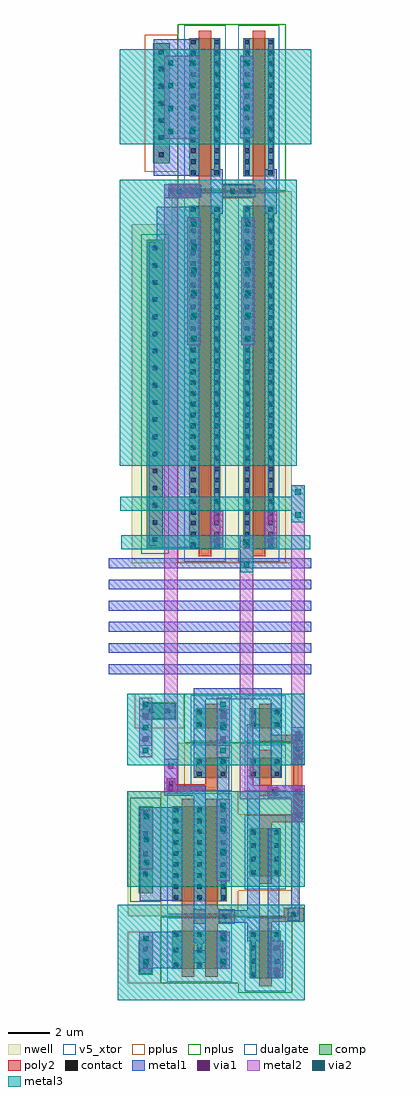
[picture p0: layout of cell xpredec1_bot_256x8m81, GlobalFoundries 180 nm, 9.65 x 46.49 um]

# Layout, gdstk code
import gdstk
lib = gdstk.Library(unit=1e-6, precision=1e-09)
def R(c, l, rs):  # rectangles x0, y0, x1, y1
    for r in rs: c.add(gdstk.rectangle(r[:2], r[2:], *l))
def A(c, l, x, y, w, h, nx, ny, dx, dy):  # array of equal rectangles
    R(c, l, [(x+i*dx, y+j*dy, x+i*dx+w, y+j*dy+h) for i in range(nx) for j in range(ny)])
def P(c, l, *ps):  # polygons
    for p in ps: c.add(gdstk.Polygon(p, *l))
nwell = (21, 0)
comp = (22, 0)
poly2 = (30, 0)
pplus = (31, 0)
nplus = (32, 0)
contact = (33, 0)
metal1 = (34, 0)
via1 = (35, 0)
metal2 = (36, 0)
via2 = (38, 0)
metal3 = (42, 0)
dualgate = (55, 0)
v5_xtor = (112, 1)

m2_m1__43375660_256x8m81 = lib.new_cell('M2_M1$$43375660_256x8m81')
R(m2_m1__43375660_256x8m81, metal1, [(-0.31,-0.875,0.31,0.875)])
R(m2_m1__43375660_256x8m81, via1, [(-0.13,-0.675,0.13,-0.415), (-0.13,0.415,0.13,0.675)])
R(m2_m1__43375660_256x8m81, metal2, [(-0.31,-0.875,0.31,0.875)])

m2_m1__43377708_256x8m81 = lib.new_cell('M2_M1$$43377708_256x8m81')
P(m2_m1__43377708_256x8m81, metal1, [(-0.29,-3.055),(-0.29,-3.05),(-0.32,-3.05),(-0.32,3.055),(0.32,3.055),(0.32,-3.05),(0.29,-3.05),(0.29,-3.055)])
A(m2_m1__43377708_256x8m81, via1, -0.13, -1.765, 0.26, 0.26, 1, 4, 0, 1.09)
R(m2_m1__43377708_256x8m81, via1, [(-0.13,-2.85,0.13,-2.59), (-0.13,2.59,0.13,2.85)])
R(m2_m1__43377708_256x8m81, metal2, [(-0.32,-3.055,0.32,3.055)])

m3_m2__47334444_256x8m81 = lib.new_cell('M3_M2$$47334444_256x8m81')
R(m3_m2__47334444_256x8m81, metal2, [(-0.32,-3.055,0.32,3.055)])
A(m3_m2__47334444_256x8m81, via2, -0.13, -1.765, 0.26, 0.26, 1, 4, 0, 1.09)
R(m3_m2__47334444_256x8m81, via2, [(-0.13,-2.85,0.13,-2.59), (-0.13,2.59,0.13,2.85)])
R(m3_m2__47334444_256x8m81, metal3, [(-0.325,-3.055,0.325,3.055)])

m3_m2__47333420_256x8m81 = lib.new_cell('M3_M2$$47333420_256x8m81')
R(m3_m2__47333420_256x8m81, metal2, [(-0.32,-1.965,0.32,1.96)])
A(m3_m2__47333420_256x8m81, via2, -0.13, -1.765, 0.26, 0.26, 1, 4, 0, 1.09)
R(m3_m2__47333420_256x8m81, metal3, [(-0.325,-1.965,0.325,1.965)])

m2_m1__43379756_256x8m81 = lib.new_cell('M2_M1$$43379756_256x8m81')
R(m2_m1__43379756_256x8m81, metal1, [(-0.32,-1.965,0.32,1.965)])
A(m2_m1__43379756_256x8m81, via1, -0.13, -1.765, 0.26, 0.26, 1, 4, 0, 1.09)
R(m2_m1__43379756_256x8m81, metal2, [(-0.32,-1.965,0.32,1.96)])

m1_poly24310590878127_25 = lib.new_cell('M1_POLY24310590878127_256x8m81')
R(m1_poly24310590878127_25, poly2, [(-0.21,-0.21,0.21,0.21)])
R(m1_poly24310590878127_25, contact, [(-0.11,-0.11,0.11,0.11)])
R(m1_poly24310590878127_25, metal1, [(-0.17,-0.17,0.17,0.17)])

nmos_5p0431059087818_256 = lib.new_cell('nmos_5p0431059087818_256x8m81')
R(nmos_5p0431059087818_256, comp, [(-0.44,0,1.04,0.96), (-0.44,0,-0.08,0.96), (0.68,0,1.04,0.96)])
R(nmos_5p0431059087818_256, poly2, [(0,-0.22,0.6,1.18), (0,0.96,0.6,1.18)])
R(nmos_5p0431059087818_256, nplus, [(-0.6,-0.23,1.2,1.19)])
R(nmos_5p0431059087818_256, contact, [(-0.37,0.07,-0.15,0.29), (0.75,0.07,0.97,0.29), (-0.37,0.67,-0.15,0.89), (0.75,0.67,0.97,0.89)])
R(nmos_5p0431059087818_256, metal1, [(-0.375,0,-0.145,0.96), (-0.375,0,-0.145,0.96), (0.745,0,0.975,0.96), (0.745,0,0.975,0.96)])
R(nmos_5p0431059087818_256, dualgate, [(-0.68,-0.62,1.28,1.58)])
R(nmos_5p0431059087818_256, v5_xtor, [(-0.68,-0.62,1.28,1.58)])
nmos_5p0431059087818_256.add(gdstk.Label('S', (-0.26,0.48), layer=34, texttype=0))
nmos_5p0431059087818_256.add(gdstk.Label('D', (0.86,0.48), layer=34, texttype=0))

m2_m1__43375660_154_256x = lib.new_cell('M2_M1$$43375660_154_256x8m81')
R(m2_m1__43375660_154_256x, metal1, [(-0.315,-0.88,0.32,0.875)])
R(m2_m1__43375660_154_256x, via1, [(-0.13,-0.675,0.13,-0.415), (-0.13,0.415,0.13,0.675)])
R(m2_m1__43375660_154_256x, metal2, [(-0.315,-0.88,0.32,0.875)])

m3_m2__47108140_149_256x = lib.new_cell('M3_M2$$47108140_149_256x8m81')
R(m3_m2__47108140_149_256x, metal2, [(-0.315,-1.42,0.32,1.42)])
A(m3_m2__47108140_149_256x, via2, -0.13, -1.22, 0.26, 0.26, 1, 3, 0, 1.09)
R(m3_m2__47108140_149_256x, metal3, [(-0.325,-1.42,0.325,1.42)])

m3_m2__43368492_151_256x = lib.new_cell('M3_M2$$43368492_151_256x8m81')
R(m3_m2__43368492_151_256x, metal2, [(-0.32,-0.88,0.32,0.875)])
R(m3_m2__43368492_151_256x, via2, [(-0.13,-0.675,0.13,-0.415), (-0.13,0.415,0.13,0.675)])
R(m3_m2__43368492_151_256x, metal3, [(-0.325,-0.88,0.325,0.88)])

m1_psub__45110316_256x8m = lib.new_cell('M1_PSUB$$45110316_256x8m81')
R(m1_psub__45110316_256x8m, comp, [(-0.79,-0.415,0.795,0.41)])
R(m1_psub__45110316_256x8m, pplus, [(-1.185,-0.82,1.19,0.82)])
R(m1_psub__45110316_256x8m, contact, [(-0.505,-0.11,-0.285,0.11), (0.285,-0.11,0.505,0.11)])
P(m1_psub__45110316_256x8m, metal1, [(-0.75,-0.37),(-0.75,0.095),(-0.745,0.095),(-0.745,0.365),(0.75,0.365),(0.75,-0.37)])

m3_m2__47333420_150_256x = lib.new_cell('M3_M2$$47333420_150_256x8m81')
R(m3_m2__47333420_150_256x, metal2, [(-0.32,-1.965,0.32,1.965)])
A(m3_m2__47333420_150_256x, via2, -0.13, -1.765, 0.26, 0.26, 1, 4, 0, 1.09)
R(m3_m2__47333420_150_256x, metal3, [(-0.325,-1.965,0.325,1.965)])

m1_poly2__44753964_155_2 = lib.new_cell('M1_POLY2$$44753964_155_256x8m81')
R(m1_poly2__44753964_155_2, poly2, [(-0.48,-0.345,0.485,0.34)])
R(m1_poly2__44753964_155_2, contact, [(-0.11,-0.11,0.11,0.11)])
R(m1_poly2__44753964_155_2, metal1, [(-0.285,-0.3,0.29,0.295)])

pmos_5p04310590878114_25 = lib.new_cell('pmos_5p04310590878114_256x8m81')
R(pmos_5p04310590878114_25, nwell, [(-1.04,-0.6,1.64,2.87)])
R(pmos_5p04310590878114_25, comp, [(-0.44,0,1.04,2.27), (-0.44,0,-0.08,2.27), (0.68,0,1.04,2.27)])
R(pmos_5p04310590878114_25, poly2, [(0,-0.22,0.6,2.49), (0,2.27,0.6,2.49)])
R(pmos_5p04310590878114_25, pplus, [(-0.6,-0.23,1.2,2.5)])
A(pmos_5p04310590878114_25, contact, -0.37, 0.71, 0.22, 0.22, 1, 3, 0, 0.635)
A(pmos_5p04310590878114_25, contact, 0.75, 0.71, 0.22, 0.22, 1, 3, 0, 0.635)
R(pmos_5p04310590878114_25, contact, [(-0.37,0.07,-0.15,0.29), (0.75,0.07,0.97,0.29)])
R(pmos_5p04310590878114_25, metal1, [(-0.375,0,-0.145,2.27), (-0.375,0,-0.145,2.27), (0.745,0,0.975,2.27), (0.745,0,0.975,2.27)])
R(pmos_5p04310590878114_25, dualgate, [(-0.68,-0.62,1.28,2.89)])
R(pmos_5p04310590878114_25, v5_xtor, [(-0.68,-0.62,1.28,2.89)])
pmos_5p04310590878114_25.add(gdstk.Label('S', (-0.26,1.135), layer=34, texttype=0))
pmos_5p04310590878114_25.add(gdstk.Label('D', (0.86,1.135), layer=34, texttype=0))

pmos_1p2__46285868_160_2 = lib.new_cell('pmos_1p2$$46285868_160_256x8m81')
R(pmos_1p2__46285868_160_2, nwell, [(-1.43,-0.71,1.72,2.975)])
R(pmos_1p2__46285868_160_2, poly2, [(-0.155,-0.37,0.44,-0.005), (-0.155,2.27,0.44,2.635)])
R(pmos_1p2__46285868_160_2, pplus, [(-1.145,-0.685,1.43,2.95)])
pmos_1p2__46285868_160_2.add(gdstk.Reference(pmos_5p04310590878114_25, (-0.155,0)))

nmos_5p04310590878110_25 = lib.new_cell('nmos_5p04310590878110_256x8m81')
R(nmos_5p04310590878110_25, comp, [(-0.44,0,1.04,2.27), (-0.44,0,-0.08,2.27), (0.68,0,1.04,2.27)])
R(nmos_5p04310590878110_25, poly2, [(0,-0.22,0.6,2.49), (0,2.27,0.6,2.49)])
R(nmos_5p04310590878110_25, nplus, [(-0.6,-0.23,1.2,2.5)])
A(nmos_5p04310590878110_25, contact, -0.37, 0.71, 0.22, 0.22, 1, 3, 0, 0.635)
A(nmos_5p04310590878110_25, contact, 0.75, 0.71, 0.22, 0.22, 1, 3, 0, 0.635)
R(nmos_5p04310590878110_25, contact, [(-0.37,0.07,-0.15,0.29), (0.75,0.07,0.97,0.29)])
R(nmos_5p04310590878110_25, metal1, [(-0.375,0,-0.145,2.27), (-0.375,0,-0.145,2.27), (0.745,0,0.975,2.27), (0.745,0,0.975,2.27)])
R(nmos_5p04310590878110_25, dualgate, [(-0.68,-0.62,1.28,2.89)])
R(nmos_5p04310590878110_25, v5_xtor, [(-0.68,-0.62,1.28,2.89)])
nmos_5p04310590878110_25.add(gdstk.Label('S', (-0.26,1.135), layer=34, texttype=0))
nmos_5p04310590878110_25.add(gdstk.Label('D', (0.86,1.135), layer=34, texttype=0))

nmos_1p2__46551084_157_2 = lib.new_cell('nmos_1p2$$46551084_157_256x8m81')
R(nmos_1p2__46551084_157_2, poly2, [(-0.155,-0.37,0.44,-0.005), (-0.155,2.27,0.44,2.635)])
R(nmos_1p2__46551084_157_2, nplus, [(-1.145,-0.685,1.43,2.95)])
nmos_1p2__46551084_157_2.add(gdstk.Reference(nmos_5p04310590878110_25, (-0.155,0)))

pmos_5p04310590878141_25 = lib.new_cell('pmos_5p04310590878141_256x8m81')
R(pmos_5p04310590878141_25, nwell, [(-1.04,-0.6,1.64,1.56)])
R(pmos_5p04310590878141_25, comp, [(-0.44,0,1.04,0.96), (-0.44,0,-0.08,0.96), (0.68,0,1.04,0.96)])
R(pmos_5p04310590878141_25, poly2, [(0,-0.22,0.6,1.18), (0,0.96,0.6,1.18)])
R(pmos_5p04310590878141_25, pplus, [(-0.6,-0.23,1.2,1.19)])
R(pmos_5p04310590878141_25, contact, [(-0.37,0.07,-0.15,0.29), (0.75,0.07,0.97,0.29), (-0.37,0.67,-0.15,0.89), (0.75,0.67,0.97,0.89)])
R(pmos_5p04310590878141_25, metal1, [(-0.375,0,-0.145,0.96), (-0.375,0,-0.145,0.96), (0.745,0,0.975,0.96), (0.745,0,0.975,0.96)])
R(pmos_5p04310590878141_25, dualgate, [(-0.68,-0.62,1.28,1.58)])
R(pmos_5p04310590878141_25, v5_xtor, [(-0.68,-0.62,1.28,1.58)])
pmos_5p04310590878141_25.add(gdstk.Label('S', (-0.26,0.48), layer=34, texttype=0))
pmos_5p04310590878141_25.add(gdstk.Label('D', (0.86,0.48), layer=34, texttype=0))

pmos_1p2__47330348_161_2 = lib.new_cell('pmos_1p2$$47330348_161_256x8m81')
R(pmos_1p2__47330348_161_2, nwell, [(-1.43,-0.705,1.72,1.61)])
R(pmos_1p2__47330348_161_2, poly2, [(-0.15,-0.365,0.44,0), (-0.155,0.955,0.44,1.11)])
R(pmos_1p2__47330348_161_2, pplus, [(-1.145,-0.68,1.43,1.63)])
pmos_1p2__47330348_161_2.add(gdstk.Reference(pmos_5p04310590878141_25, (-0.155,0)))

nmos_5p04310590878162_25 = lib.new_cell('nmos_5p04310590878162_256x8m81')
A(nmos_5p04310590878162_25, comp, -0.44, 0, 0.36, 1.82, 3, 1, 1.12, 0)
R(nmos_5p04310590878162_25, comp, [(-0.44,0,2.16,1.82)])
R(nmos_5p04310590878162_25, poly2, [(0,-0.22,0.6,2.04), (1.12,-0.22,1.72,2.04), (0,1.82,0.6,2.04), (1.12,1.82,1.72,2.04)])
R(nmos_5p04310590878162_25, nplus, [(-0.6,-0.23,2.32,2.05)])
A(nmos_5p04310590878162_25, contact, -0.37, 0.07, 0.22, 0.22, 3, 3, 1.12, 0.73)
R(nmos_5p04310590878162_25, metal1, [(-0.375,0,-0.145,1.82), (-0.375,0,-0.145,1.82), (0.745,0,0.975,1.82), (0.745,0,0.975,1.82), (1.865,0,2.095,1.82), (1.865,0,2.095,1.82)])
R(nmos_5p04310590878162_25, dualgate, [(-0.68,-0.62,2.4,2.44)])
R(nmos_5p04310590878162_25, v5_xtor, [(-0.68,-0.62,2.4,2.44)])
nmos_5p04310590878162_25.add(gdstk.Label('S', (-0.26,0.91), layer=34, texttype=0))
nmos_5p04310590878162_25.add(gdstk.Label('S', (1.98,0.91), layer=34, texttype=0))
nmos_5p04310590878162_25.add(gdstk.Label('D', (0.86,0.91), layer=34, texttype=0))

nmos_1p2__47329324_256x8 = lib.new_cell('nmos_1p2$$47329324_256x8m81')
R(nmos_1p2__47329324_256x8, poly2, [(-0.15,-0.37,0.44,-0.005), (0.97,-0.37,1.56,-0.005), (-0.15,1.815,0.44,2.18), (0.965,1.815,1.56,2.155)])
R(nmos_1p2__47329324_256x8, nplus, [(-1.14,-0.685,2.55,2.495)])
nmos_1p2__47329324_256x8.add(gdstk.Reference(nmos_5p04310590878162_25, (-0.155,0)))

m2_m1__43380780_152_256x = lib.new_cell('M2_M1$$43380780_152_256x8m81')
R(m2_m1__43380780_152_256x, metal1, [(-0.315,-1.42,0.325,1.42)])
A(m2_m1__43380780_152_256x, via1, -0.13, -1.22, 0.26, 0.26, 1, 3, 0, 1.09)
R(m2_m1__43380780_152_256x, metal2, [(-0.315,-1.42,0.325,1.42)])

m2_m1__43379756_153_256x = lib.new_cell('M2_M1$$43379756_153_256x8m81')
R(m2_m1__43379756_153_256x, metal1, [(-0.32,-1.965,0.32,1.965)])
A(m2_m1__43379756_153_256x, via1, -0.13, -1.765, 0.26, 0.26, 1, 4, 0, 1.09)
R(m2_m1__43379756_153_256x, metal2, [(-0.32,-1.965,0.32,1.965)])

pmos_5p04310590878163_25 = lib.new_cell('pmos_5p04310590878163_256x8m81')
R(pmos_5p04310590878163_25, nwell, [(-1.04,-0.6,2.76,5.14)])
A(pmos_5p04310590878163_25, comp, -0.44, 0, 0.36, 4.54, 3, 1, 1.12, 0)
R(pmos_5p04310590878163_25, comp, [(-0.44,0,2.16,4.54)])
R(pmos_5p04310590878163_25, poly2, [(0,-0.22,0.6,4.76), (1.12,-0.22,1.72,4.76), (0,4.54,0.6,4.76), (1.12,4.54,1.72,4.76)])
R(pmos_5p04310590878163_25, pplus, [(-0.6,-0.23,2.32,4.77)])
A(pmos_5p04310590878163_25, contact, -0.37, 0.07, 0.22, 0.22, 3, 5, 1.12, 0.525)
A(pmos_5p04310590878163_25, contact, -0.37, 2.69, 0.22, 0.22, 3, 4, 1.12, 0.52)
R(pmos_5p04310590878163_25, metal1, [(-0.375,0,-0.145,4.54), (-0.375,0,-0.145,4.54), (0.745,0,0.975,4.54), (0.745,0,0.975,4.54), (1.865,0,2.095,4.54), (1.865,0,2.095,4.54)])
R(pmos_5p04310590878163_25, dualgate, [(-0.68,-0.62,2.4,5.16)])
R(pmos_5p04310590878163_25, v5_xtor, [(-0.68,-0.62,2.4,5.16)])
pmos_5p04310590878163_25.add(gdstk.Label('S', (-0.26,2.27), layer=34, texttype=0))
pmos_5p04310590878163_25.add(gdstk.Label('S', (1.98,2.27), layer=34, texttype=0))
pmos_5p04310590878163_25.add(gdstk.Label('D', (0.86,2.27), layer=34, texttype=0))

pmos_1p2__47331372_256x8 = lib.new_cell('pmos_1p2$$47331372_256x8m81')
R(pmos_1p2__47331372_256x8, nwell, [(-1.43,-0.71,2.84,5.24)])
R(pmos_1p2__47331372_256x8, poly2, [(-0.15,-0.37,0.44,-0.005), (0.97,-0.37,1.56,-0.005), (-0.15,4.535,0.44,4.895), (0.97,4.535,1.56,4.895)])
R(pmos_1p2__47331372_256x8, pplus, [(-1.14,-0.685,2.55,5.22)])
pmos_1p2__47331372_256x8.add(gdstk.Reference(pmos_5p04310590878163_25, (-0.155,0)))

m1_poly24310590878134_25 = lib.new_cell('M1_POLY24310590878134_256x8m81')
R(m1_poly24310590878134_25, poly2, [(-0.21,-0.445,0.21,0.445)])
R(m1_poly24310590878134_25, contact, [(-0.11,-0.345,0.11,-0.125), (-0.11,0.125,0.11,0.345)])
R(m1_poly24310590878134_25, metal1, [(-0.17,-0.405,0.17,0.405)])

alatch_256x8m81 = lib.new_cell('alatch_256x8m81')
R(alatch_256x8m81, nwell, [(0.02,3.985,1.795,9.93)])
P(alatch_256x8m81, nwell, [(2.435,3.985),(2.435,9.93),(2.44,9.93),(2.44,12.245),(8.15,12.245),(8.15,3.985)])
R(alatch_256x8m81, comp, [(0.55,1.195,1.215,2.835), (0.55,5.075,1.215,9.23)])
R(alatch_256x8m81, poly2, [(6.28,9.72,6.88,10.435), (3.71,11.695,4.31,12.79)])
P(alatch_256x8m81, poly2, [(1.875,9.98),(1.875,10.28),(3.71,10.28),(3.71,10.635),(4.31,10.635),(4.31,9.98)],
  [(2.59,3.44),(2.59,4.54),(3.19,4.54),(3.19,4.32),(3.71,4.32),(3.71,4.54),(4.31,4.54),(4.31,4.32),(5.12,4.32),(5.12,3.635),(4.31,3.635),(4.31,3.44),(3.71,3.44),(3.71,3.635),(3.19,3.635),(3.19,3.44)],
  [(6.28,3.28),(6.28,4.015),(7.445,4.015),(7.445,4.02),(7.93,4.02),(7.93,3.715),(6.88,3.715),(6.88,3.28)],
  [(6.28,8.315),(6.28,8.81),(7.91,8.81),(7.91,12.305),(6.28,12.305),(6.28,12.94),(6.88,12.94),(6.88,12.635),(8.33,12.635),(8.33,8.465),(6.88,8.465),(6.88,8.315)])
R(alatch_256x8m81, pplus, [(0.02,0.79,1.61,3.245)])
R(alatch_256x8m81, nplus, [(0.155,4.665,1.61,9.635), (2.725,12.26,5.295,14.58), (5.295,12.26,7.865,14.58)])
A(alatch_256x8m81, contact, 0.77, 6.85, 0.22, 0.22, 1, 3, 0, 0.965)
R(alatch_256x8m81, contact, [(0.77,1.5,0.99,1.72), (0.77,2.315,0.99,2.535), (0.77,5.89,0.99,6.11)])
R(alatch_256x8m81, metal1, [(3.16,1.765,3.74,2.365), (0.595,4.735,2.62,9.185), (7.845,12.01,8.425,12.61)])
P(alatch_256x8m81, metal1, [(5.73,2.805),(5.73,3.675),(5.725,3.675),(5.725,3.68),(4.35,3.68),(4.35,4.275),(5.73,4.275),(5.73,13.14),(6.31,13.14),(6.31,2.805)],
  [(4.275,8.77),(4.275,9.58),(4.28,9.58),(4.28,11.54),(4.86,11.54),(4.86,8.77)],
  [(7.815,3.76),(7.815,4.355),(7.82,4.355),(7.82,9.63),(6.7,9.63),(6.7,10.225),(8.22,10.225),(8.22,9.245),(8.45,9.245),(8.45,8.645),(8.22,8.645),(8.22,3.76)],
  [(3.16,2.695),(3.16,9.73),(1.795,9.73),(1.795,10.195),(2.4,10.195),(2.4,10.19),(3.74,10.19),(3.74,2.695)],
  [(6.7,1.06),(6.7,8.165),(7.25,8.165),(7.25,2.365),(7.375,2.365),(7.375,1.765),(7.25,1.765),(7.25,1.06)],
  [(0.595,1.24),(0.595,1.49),(0.59,1.49),(0.59,3.245),(2.62,3.245),(2.62,1.515),(1.17,1.515),(1.17,1.24)],
  [(3.16,10.58),(3.16,14.84),(7.36,14.84),(7.36,10.58),(6.85,10.58),(6.85,14.32),(3.74,14.32),(3.74,10.58)])
R(alatch_256x8m81, metal3, [(-0.45,-0.005,8.46,4.535), (-0.005,5.39,8.46,9.93), (-0.005,11.17,8.46,14.58)])
alatch_256x8m81.add(gdstk.Reference(m1_poly24310590878127_25, (2.085,10.34)))
alatch_256x8m81.add(gdstk.Reference(m1_poly24310590878127_25, (6.985,9.93)))
alatch_256x8m81.add(gdstk.Reference(nmos_5p0431059087818_256, (6.28,13.895), x_reflection=True))
alatch_256x8m81.add(gdstk.Reference(nmos_5p0431059087818_256, (3.71,13.895), x_reflection=True))
alatch_256x8m81.add(gdstk.Reference(m2_m1__43375660_154_256x, (4.57,2.37)))
alatch_256x8m81.add(gdstk.Reference(m2_m1__43375660_154_256x, (0.88,12.98)))
alatch_256x8m81.add(gdstk.Reference(m2_m1__43375660_154_256x, (4.57,12.98)))
alatch_256x8m81.add(gdstk.Reference(m2_m1__43375660_154_256x, (0.89,2.37)))
alatch_256x8m81.add(gdstk.Reference(m2_m1__43375660_154_256x, (7.105,1.94)))
alatch_256x8m81.add(gdstk.Reference(m2_m1__43375660_154_256x, (8.135,9.35)))
alatch_256x8m81.add(gdstk.Reference(m2_m1__43375660_154_256x, (8.135,12.115)))
alatch_256x8m81.add(gdstk.Reference(m3_m2__47108140_149_256x, (4.57,12.98)))
alatch_256x8m81.add(gdstk.Reference(m3_m2__47108140_149_256x, (0.88,12.98)))
alatch_256x8m81.add(gdstk.Reference(m3_m2__47108140_149_256x, (0.91,7.64)))
alatch_256x8m81.add(gdstk.Reference(m3_m2__43368492_151_256x, (0.89,2.37)))
alatch_256x8m81.add(gdstk.Reference(m3_m2__43368492_151_256x, (4.57,2.37)))
alatch_256x8m81.add(gdstk.Reference(m1_psub__45110316_256x8m, (1.535,13.76)))
alatch_256x8m81.add(gdstk.Reference(m3_m2__47333420_150_256x, (4.57,7.615)))
alatch_256x8m81.add(gdstk.Reference(m1_poly2__44753964_155_2, (7.93,4.06)))
alatch_256x8m81.add(gdstk.Reference(m1_poly2__44753964_155_2, (4.635,3.98)))
alatch_256x8m81.add(gdstk.Reference(pmos_1p2__46285868_160_2, (6.435,5.895)))
alatch_256x8m81.add(gdstk.Reference(nmos_1p2__46551084_157_2, (6.435,1.02)))
alatch_256x8m81.add(gdstk.Reference(pmos_1p2__47330348_161_2, (3.865,11.54), x_reflection=True))
alatch_256x8m81.add(gdstk.Reference(pmos_1p2__47330348_161_2, (6.435,11.54), x_reflection=True))
alatch_256x8m81.add(gdstk.Reference(nmos_1p2__47329324_256x8, (2.745,1.475)))
alatch_256x8m81.add(gdstk.Reference(m2_m1__43380780_152_256x, (0.91,7.64)))
alatch_256x8m81.add(gdstk.Reference(m2_m1__43379756_153_256x, (4.57,7.615)))
alatch_256x8m81.add(gdstk.Reference(pmos_1p2__47331372_256x8, (2.745,4.695)))
alatch_256x8m81.add(gdstk.Reference(m1_poly24310590878134_25, (8.12,12.195)))
alatch_256x8m81.add(gdstk.Label('enb', (8.135,12.31), layer=34, texttype=10))
alatch_256x8m81.add(gdstk.Label('en', (8.16,8.945), layer=34, texttype=10))
alatch_256x8m81.add(gdstk.Label('ab', (3.45,2.065), layer=34, texttype=10))
alatch_256x8m81.add(gdstk.Label('a', (7.08,2.065), layer=34, texttype=10))
alatch_256x8m81.add(gdstk.Label('vss', (1.01,12.92), layer=42, texttype=10))
alatch_256x8m81.add(gdstk.Label('vss', (0.66,1.835), layer=42, texttype=10))
alatch_256x8m81.add(gdstk.Label('vdd', (0.78,7.49), layer=42, texttype=10))

m3_m2__43368492_256x8m81 = lib.new_cell('M3_M2$$43368492_256x8m81_0')
R(m3_m2__43368492_256x8m81, metal2, [(-0.315,-0.875,0.31,0.88)])
R(m3_m2__43368492_256x8m81, via2, [(-0.13,-0.675,0.13,-0.415), (-0.13,0.415,0.13,0.675)])
R(m3_m2__43368492_256x8m81, metal3, [(-0.315,-0.88,0.315,0.88)])

m2_m1__34864172_256x8m81 = lib.new_cell('M2_M1$$34864172_256x8m81')
R(m2_m1__34864172_256x8m81, metal1, [(-0.85,-0.33,0.85,0.335)])
R(m2_m1__34864172_256x8m81, via1, [(-0.66,-0.13,-0.4,0.13), (0.4,-0.13,0.66,0.13)])
R(m2_m1__34864172_256x8m81, metal2, [(-0.845,-0.33,0.85,0.335)])

m1_poly2__46559276_256x8 = lib.new_cell('M1_POLY2$$46559276_256x8m81_0')
R(m1_poly2__46559276_256x8, poly2, [(-0.88,-0.345,0.88,0.345)])
R(m1_poly2__46559276_256x8, contact, [(-0.505,-0.11,-0.285,0.11), (0.285,-0.11,0.505,0.11)])
R(m1_poly2__46559276_256x8, metal1, [(-0.685,-0.3,0.685,0.3)])

m1_psub__47335468_256x8m = lib.new_cell('M1_PSUB$$47335468_256x8m81')
R(m1_psub__47335468_256x8m, comp, [(-0.395,-2.86,0.4,2.86)])
R(m1_psub__47335468_256x8m, pplus, [(-0.79,-3.27,0.795,3.27)])
A(m1_psub__47335468_256x8m, contact, -0.11, -0.925, 0.22, 0.22, 1, 3, 0, 0.815)
R(m1_psub__47335468_256x8m, contact, [(-0.11,-2.56,0.11,-2.34), (-0.11,-1.745,0.11,-1.525), (-0.11,1.525,0.11,1.745), (-0.11,2.34,0.11,2.56)])
R(m1_psub__47335468_256x8m, metal1, [(-0.35,-2.815,0.355,2.815)])

m1_nwell__47338540_256x8 = lib.new_cell('M1_NWELL$$47338540_256x8m81')
R(m1_nwell__47338540_256x8, nwell, [(-1.105,-8.075,1.105,8.075)])
R(m1_nwell__47338540_256x8, comp, [(-0.385,-7.34,0.385,7.335)])
R(m1_nwell__47338540_256x8, nplus, [(-0.65,-7.61,0.65,7.61)])
A(m1_nwell__47338540_256x8, contact, -0.11, -6.23, 0.22, 0.22, 1, 5, 0, 0.815)
A(m1_nwell__47338540_256x8, contact, -0.11, -2.15, 0.22, 0.22, 1, 3, 0, 0.815)
A(m1_nwell__47338540_256x8, contact, -0.11, 0.3, 0.22, 0.22, 1, 3, 0, 0.815)
A(m1_nwell__47338540_256x8, contact, -0.11, 2.75, 0.22, 0.22, 1, 5, 0, 0.815)
R(m1_nwell__47338540_256x8, contact, [(-0.11,-7.05,0.11,-6.83), (-0.11,6.83,0.11,7.05)])
R(m1_nwell__47338540_256x8, metal1, [(-0.29,-7.235,0.29,7.235)])

pmos_5p04310590878174_25 = lib.new_cell('pmos_5p04310590878174_256x8m81')
R(pmos_5p04310590878174_25, nwell, [(-1.04,-0.6,1.64,16.93)])
R(pmos_5p04310590878174_25, comp, [(-0.44,0,1.04,16.33), (-0.44,0,-0.08,16.33), (0.68,0,1.04,16.33)])
R(pmos_5p04310590878174_25, poly2, [(0,-0.22,0.6,16.55), (0,16.33,0.6,16.55)])
R(pmos_5p04310590878174_25, pplus, [(-0.6,-0.23,1.2,16.56)])
A(pmos_5p04310590878174_25, contact, -0.37, 0.59, 0.22, 0.22, 1, 31, 0, 0.515)
A(pmos_5p04310590878174_25, contact, 0.75, 0.59, 0.22, 0.22, 1, 31, 0, 0.515)
R(pmos_5p04310590878174_25, contact, [(-0.37,0.07,-0.15,0.29), (0.75,0.07,0.97,0.29)])
R(pmos_5p04310590878174_25, metal1, [(-0.375,0,-0.145,16.33), (-0.375,0,-0.145,16.33), (0.745,0,0.975,16.33), (0.745,0,0.975,16.33)])
R(pmos_5p04310590878174_25, dualgate, [(-0.68,-0.62,1.28,16.95)])
R(pmos_5p04310590878174_25, v5_xtor, [(-0.68,-0.62,1.28,16.95)])
pmos_5p04310590878174_25.add(gdstk.Label('S', (-0.26,8.165), layer=34, texttype=0))
pmos_5p04310590878174_25.add(gdstk.Label('D', (0.86,8.165), layer=34, texttype=0))

pmos_1p2__47337516_256x8 = lib.new_cell('pmos_1p2$$47337516_256x8m81')
R(pmos_1p2__47337516_256x8, nwell, [(-1.43,-0.705,1.72,17.03)])
R(pmos_1p2__47337516_256x8, poly2, [(-0.155,-0.365,0.44,-0.005), (-0.155,16.325,0.44,16.69)])
R(pmos_1p2__47337516_256x8, pplus, [(-1.145,-0.685,1.43,17.01)])
pmos_1p2__47337516_256x8.add(gdstk.Reference(pmos_5p04310590878174_25, (-0.155,0)))

nmos_5p04310590878175_25 = lib.new_cell('nmos_5p04310590878175_256x8m81')
R(nmos_5p04310590878175_25, comp, [(-0.44,0,1.04,6.58), (-0.44,0,-0.08,6.58), (0.68,0,1.04,6.58)])
R(nmos_5p04310590878175_25, poly2, [(0,-0.22,0.6,6.8), (0,6.58,0.6,6.8)])
R(nmos_5p04310590878175_25, nplus, [(-0.6,-0.23,1.2,6.81)])
A(nmos_5p04310590878175_25, contact, -0.37, 0.07, 0.22, 0.22, 1, 9, 0, 0.52)
A(nmos_5p04310590878175_25, contact, 0.75, 0.07, 0.22, 0.22, 1, 9, 0, 0.52)
A(nmos_5p04310590878175_25, contact, -0.37, 4.745, 0.22, 0.22, 1, 4, 0, 0.515)
A(nmos_5p04310590878175_25, contact, 0.75, 4.745, 0.22, 0.22, 1, 4, 0, 0.515)
R(nmos_5p04310590878175_25, metal1, [(-0.375,0,-0.145,6.58), (-0.375,0,-0.145,6.58), (0.745,0,0.975,6.58), (0.745,0,0.975,6.58)])
R(nmos_5p04310590878175_25, dualgate, [(-0.68,-0.62,1.28,7.2)])
R(nmos_5p04310590878175_25, v5_xtor, [(-0.68,-0.62,1.28,7.2)])
nmos_5p04310590878175_25.add(gdstk.Label('S', (-0.26,3.29), layer=34, texttype=0))
nmos_5p04310590878175_25.add(gdstk.Label('D', (0.86,3.29), layer=34, texttype=0))

nmos_1p2__47336492_256x8 = lib.new_cell('nmos_1p2$$47336492_256x8m81')
R(nmos_1p2__47336492_256x8, poly2, [(-0.155,-0.37,0.44,-0.005), (-0.155,6.58,0.44,6.94)])
R(nmos_1p2__47336492_256x8, nplus, [(-1.145,-0.685,1.43,7.26)])
nmos_1p2__47336492_256x8.add(gdstk.Reference(nmos_5p04310590878175_25, (-0.155,0)))

xpredec1_bot_256x8m81 = lib.new_cell('xpredec1_bot_256x8m81')
P(xpredec1_bot_256x8m81, poly2, [(3.755,34.815),(3.755,35.02),(3.75,35.02),(3.75,35.71),(3.755,35.71),(3.755,35.915),(4.35,35.915),(4.35,34.815)],
  [(6.325,34.815),(6.325,35.02),(6.32,35.02),(6.32,35.71),(6.325,35.71),(6.325,35.915),(6.92,35.915),(6.92,34.815)])
A(xpredec1_bot_256x8m81, metal1, -0.53, 12.36, 9.65, 0.465, 1, 3, 0, 1.01)
R(xpredec1_bot_256x8m81, metal1, [(-0.53,15.39,9.12,15.85), (-0.53,16.395,9.12,16.86), (-0.53,17.405,9.12,17.87), (6.895,34.295,7.47,36.415), (1.625,36.11,3.78,42.6)])
P(xpredec1_bot_256x8m81, metal1, [(4.325,34.295),(4.325,36.415),(4.9,36.415),(4.9,35.665),(6.44,35.665),(6.44,35.065),(4.9,35.065),(4.9,34.295)],
  [(1.755,18.38),(1.755,18.47),(1.75,18.47),(1.75,32.945),(1.755,32.945),(1.755,34.62),(3.78,34.62),(3.78,18.38)])
R(xpredec1_bot_256x8m81, metal2, [(2.105,6.795,2.75,35.7), (8.17,8.075,8.81,20.285), (2.105,37.875,3.78,41.81)])
P(xpredec1_bot_256x8m81, metal2, [(5.72,6.4),(5.72,18.98),(6.36,18.98),(6.36,7.065),(8.81,7.065),(8.81,6.4)])
R(xpredec1_bot_256x8m81, metal3, [(0.03,20.15,8.81,20.815), (-0.005,22.29,8.425,35.905), (-0.005,37.595,9.12,42.135)])
P(xpredec1_bot_256x8m81, metal3, [(5.72,18.31),(5.72,18.315),(0.07,18.315),(0.07,18.98),(9.075,18.98),(9.075,18.315),(6.36,18.315),(6.36,18.31)])
xpredec1_bot_256x8m81.add(gdstk.Reference(m2_m1__43375660_256x8m81, (7.18,19.26)))
xpredec1_bot_256x8m81.add(gdstk.Reference(m2_m1__43375660_256x8m81, (4.61,19.26)))
xpredec1_bot_256x8m81.add(gdstk.Reference(m2_m1__43375660_256x8m81, (2.425,7.445)))
xpredec1_bot_256x8m81.add(gdstk.Reference(m2_m1__43377708_256x8m81, (3.525,31.07)))
xpredec1_bot_256x8m81.add(gdstk.Reference(m2_m1__43377708_256x8m81, (6.095,31.07)))
xpredec1_bot_256x8m81.add(gdstk.Reference(m3_m2__47334444_256x8m81, (3.525,31.07)))
xpredec1_bot_256x8m81.add(gdstk.Reference(m3_m2__47334444_256x8m81, (6.095,31.07)))
xpredec1_bot_256x8m81.add(gdstk.Reference(m3_m2__47333420_256x8m81, (6.06,39.845)))
xpredec1_bot_256x8m81.add(gdstk.Reference(m3_m2__47333420_256x8m81, (3.46,39.845)))
xpredec1_bot_256x8m81.add(gdstk.Reference(m3_m2__47333420_256x8m81, (2.425,39.845)))
xpredec1_bot_256x8m81.add(gdstk.Reference(m2_m1__43379756_256x8m81, (6.06,39.845)))
xpredec1_bot_256x8m81.add(gdstk.Reference(m2_m1__43379756_256x8m81, (3.46,39.845)))
xpredec1_bot_256x8m81.add(gdstk.Reference(m2_m1__43379756_256x8m81, (2.425,39.845)))
xpredec1_bot_256x8m81.add(gdstk.Reference(alatch_256x8m81, (0.35,-3.16)))
xpredec1_bot_256x8m81.add(gdstk.Reference(m3_m2__43368492_256x8m81, (6.04,18.1)))
xpredec1_bot_256x8m81.add(gdstk.Reference(m3_m2__43368492_256x8m81, (8.49,20.48)))
xpredec1_bot_256x8m81.add(gdstk.Reference(m2_m1__34864172_256x8m81, (2.955,35.365)))
xpredec1_bot_256x8m81.add(gdstk.Reference(m1_poly2__46559276_256x8, (3.205,35.365)))
xpredec1_bot_256x8m81.add(gdstk.Reference(m1_poly2__46559276_256x8, (5.755,35.365)))
xpredec1_bot_256x8m81.add(gdstk.Reference(m1_psub__47335468_256x8m, (1.975,39.55)))
xpredec1_bot_256x8m81.add(gdstk.Reference(m1_nwell__47338540_256x8, (1.67,25.71)))
xpredec1_bot_256x8m81.add(gdstk.Reference(pmos_1p2__47337516_256x8, (3.91,18.34)))
xpredec1_bot_256x8m81.add(gdstk.Reference(pmos_1p2__47337516_256x8, (6.48,18.34)))
xpredec1_bot_256x8m81.add(gdstk.Reference(nmos_1p2__47336492_256x8, (3.91,36.07)))
xpredec1_bot_256x8m81.add(gdstk.Reference(nmos_1p2__47336492_256x8, (6.48,36.07)))

lib.write_gds('xpredec1_bot_256x8m81.gds')
